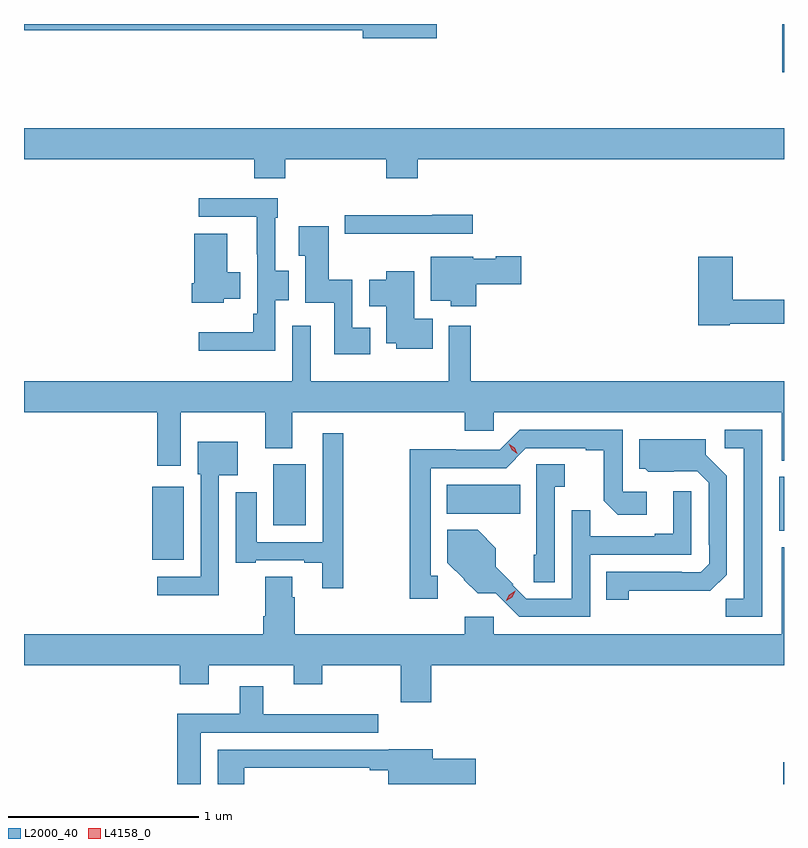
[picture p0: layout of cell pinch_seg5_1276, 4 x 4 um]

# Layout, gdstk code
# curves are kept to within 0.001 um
import gdstk
lib = gdstk.Library(unit=1e-6, precision=1e-09)
def R(c, l, rs):  # rectangles x0, y0, x1, y1
    for r in rs: c.add(gdstk.rectangle(r[:2], r[2:], *l))
def P(c, l, *ps):  # polygons
    for p in ps: c.add(gdstk.Polygon(p, *l))
L2000_40 = (2000, 40)
L4158_0 = (4158, 0)

pinch_seg5_1276 = lib.new_cell('pinch_seg5_1276')
R(pinch_seg5_1276, L2000_40, [(373.35,844.148,373.354,844.262), (370.028,845.327,370.195,845.713), (373.328,845.48,373.354,845.764), (370.667,845.51,370.837,845.83), (371.579,845.57,371.966,845.722), (373.346,847.893,373.354,848.148)])
P(pinch_seg5_1276, L2000_40, [(371.527,848.148),(369.354,848.148),(369.354,848.116),(371.138,848.116),(371.138,848.074),(371.527,848.074)],
  [(370.73,847.436),(371.261,847.436),(371.261,847.337),(371.426,847.337),(371.426,847.436),(373.354,847.436),(373.354,847.6),(369.354,847.6),(369.354,847.436),(370.565,847.436),(370.565,847.337),(370.73,847.337)],
  [(370.677,846.694),(370.747,846.694),(370.747,846.849),(370.677,846.849),(370.677,847.127),(370.69,847.127),(370.69,847.23),(370.275,847.23),(370.275,847.134),(370.58,847.134),(370.58,846.937),(370.581,846.937),(370.581,846.622),(370.561,846.622),(370.561,846.526),(370.275,846.526),(370.275,846.428),(370.677,846.428)],
  [(371.399,847.044),(371.716,847.044),(371.716,847.145),(371.503,847.145),(371.503,847.142),(371.043,847.142),(371.043,847.043),(371.399,847.043)],
  [(371.176,846.55),(371.082,846.55),(371.082,846.802),(370.957,846.802),(370.957,847.084),(370.799,847.084),(370.799,846.928),(370.835,846.928),(370.835,846.68),(370.986,846.68),(370.986,846.41),(371.176,846.41)],
  [(370.404,846.701),(370.492,846.701),(370.492,846.841),(370.423,846.841),(370.423,847.045),(370.25,847.045),(370.25,846.784),(370.238,846.784),(370.238,846.68),(370.404,846.68)],
  [(371.735,846.779),(371.971,846.779),(371.971,846.926),(371.838,846.926),(371.838,846.913),(371.718,846.913),(371.718,846.922),(371.495,846.922),(371.495,846.692),(371.6,846.692),(371.6,846.662),(371.735,846.662)],
  [(373.068,846.57),(373.354,846.57),(373.354,846.698),(373.085,846.698),(373.085,846.922),(372.902,846.922),(372.902,846.562),(373.068,846.562)],
  [(371.504,846.598),(371.407,846.598),(371.407,846.847),(371.261,846.847),(371.261,846.802),(371.171,846.802),(371.171,846.662),(371.261,846.662),(371.261,846.467),(371.313,846.467),(371.313,846.44),(371.504,846.44)],
  [(370.18,846.104),(370.625,846.104),(370.625,845.915),(370.765,845.915),(370.765,846.104),(371.675,846.104),(371.675,846.006),(371.826,846.006),(371.826,846.104),(373.343,846.104),(373.343,845.849),(373.354,845.849),(373.354,846.268),(371.705,846.268),(371.705,846.559),(371.589,846.559),(371.589,846.268),(370.863,846.268),(370.863,846.559),(370.767,846.559),(370.767,846.268),(369.354,846.268),(369.354,846.104),(370.055,846.104),(370.055,845.823),(370.18,845.823)],
  [(371.532,845.244),(371.494,845.244),(371.494,845.811),(371.891,845.811),(371.996,845.916),(372.311,845.916),(372.311,845.904),(372.405,845.904),(372.405,845.639),(372.48,845.564),(372.631,845.564),(372.631,845.685),(372.504,845.685),(372.504,846.012),(371.964,846.012),(371.859,845.907),(371.627,845.907),(371.627,845.909),(371.383,845.909),(371.383,845.124),(371.532,845.124)],
  [(373.239,846.012),(373.041,846.012),(373.041,845.916),(373.143,845.916),(373.143,845.123),(373.047,845.123),(373.047,845.028),(373.239,845.028)],
  [(371.035,845.995),(370.926,845.995),(370.926,845.421),(370.579,845.421),(370.579,845.683),(370.469,845.683),(370.469,845.313),(370.573,845.313),(370.573,845.325),(370.829,845.325),(370.829,845.313),(370.925,845.313),(370.925,845.178),(371.035,845.178)],
  [(372.537,845.164),(372.967,845.164),(373.053,845.25),(373.053,845.77),(372.943,845.88),(372.943,845.962),(372.593,845.962),(372.593,845.808),(372.624,845.808),(372.64,845.792),(372.897,845.793),(372.957,845.733),(372.957,845.407),(372.96,845.407),(372.96,845.307),(372.915,845.262),(372.815,845.262),(372.815,845.265),(372.418,845.265),(372.418,845.118),(372.537,845.118)],
  [(370.38,845.774),(370.48,845.774),(370.48,845.95),(370.268,845.95),(370.268,845.778),(370.284,845.778),(370.284,845.238),(370.056,845.238),(370.056,845.141),(370.38,845.141)],
  [(372.147,845.713),(372.199,845.713),(372.199,845.831),(372.051,845.831),(372.051,845.355),(372.037,845.355),(372.037,845.211),(372.147,845.211)],
  [(372.333,845.355),(372.867,845.355),(372.867,845.689),(372.77,845.689),(372.77,845.464),(372.674,845.464),(372.674,845.451),(372.335,845.451),(372.335,845.59),(372.237,845.59),(372.237,845.124),(371.997,845.124),(371.925,845.196),(371.928,845.199),(371.836,845.291),(371.836,845.39),(371.741,845.485),(371.582,845.485),(371.582,845.313),(371.67,845.225),(371.668,845.224),(371.741,845.151),(371.837,845.151),(371.96,845.028),(372.333,845.028)],
  [(371.498,844.772),(373.354,844.772),(373.354,845.395),(373.343,845.395),(373.343,844.936),(371.826,844.936),(371.826,845.029),(371.675,845.029),(371.675,844.936),(370.778,844.936),(370.778,845.132),(370.765,845.132),(370.765,845.24),(370.625,845.24),(370.625,845.032),(370.613,845.032),(370.613,844.936),(369.354,844.936),(369.354,844.772),(370.175,844.772),(370.175,844.673),(370.327,844.673),(370.327,844.772),(370.775,844.772),(370.775,844.673),(370.923,844.673),(370.923,844.772),(371.338,844.772),(371.338,844.578),(371.498,844.578)],
  [(370.285,844.418),(370.494,844.418),(370.494,844.419),(371.218,844.419),(371.218,844.516),(370.612,844.516),(370.612,844.663),(370.49,844.663),(370.49,844.519),(370.16,844.519),(370.16,844.148),(370.285,844.148)],
  [(370.513,844.233),(371.174,844.233),(371.174,844.22),(371.27,844.22),(371.27,844.148),(371.731,844.148),(371.731,844.28),(371.506,844.28),(371.506,844.332),(371.274,844.332),(371.274,844.329),(370.373,844.329),(370.373,844.148),(370.513,844.148)])
P(pinch_seg5_1276, L4158_0, [(371.95,845.886),(371.92,845.906),(371.906,845.938),(371.906,845.938),(371.906,845.938),(371.936,845.919),(371.95,845.886),(371.95,845.886)],
  [(371.892,845.113),(371.892,845.114),(371.909,845.145),(371.94,845.164),(371.94,845.164),(371.94,845.163),(371.923,845.131),(371.892,845.113)])

lib.write_gds('pinch_seg5_1276.gds')
